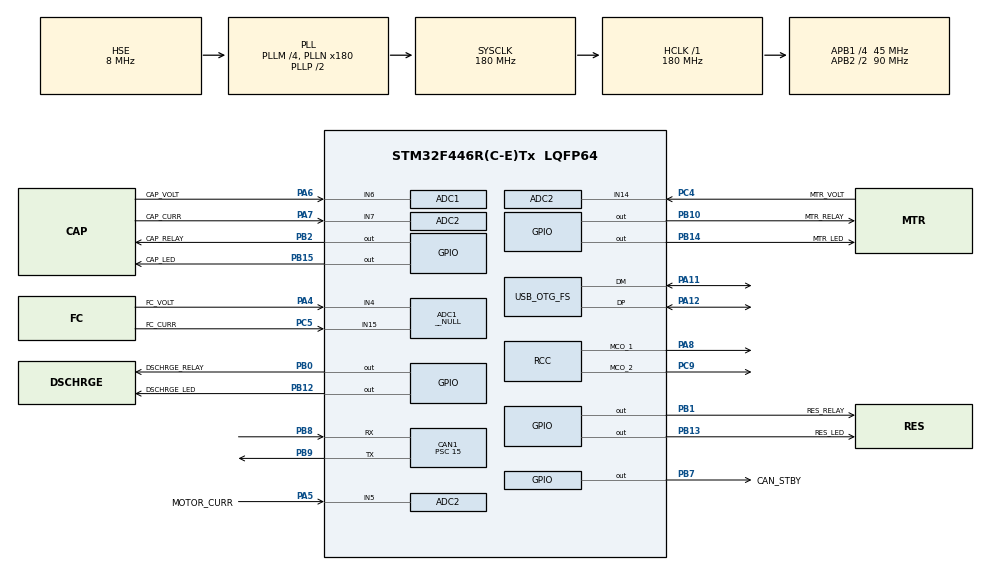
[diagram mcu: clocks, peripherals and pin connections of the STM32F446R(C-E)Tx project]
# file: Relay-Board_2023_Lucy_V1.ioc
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ADC1.Channel-0\#ChannelRegularConversion=ADC_CHANNEL_4
ADC1.Channel-1\#ChannelRegularConversion=ADC_CHANNEL_6
ADC1.Channel-2\#ChannelRegularConversion=ADC_CHANNEL_15
ADC1.ClockPrescaler=ADC_CLOCK_SYNC_PCLK_DIV4
ADC1.ContinuousConvMode=DISABLE
ADC1.DMAContinuousRequests=DISABLE
ADC1.EOCSelection=ADC_EOC_SINGLE_CONV
ADC1.Mode=__NULL
ADC1.NbrOfConversion=3
ADC1.NbrOfConversionFlag=1
ADC1.Rank-0\#ChannelRegularConversion=1
ADC1.Rank-1\#ChannelRegularConversion=2
ADC1.Rank-2\#ChannelRegularConversion=3
ADC1.SamplingTime-0\#ChannelRegularConversion=ADC_SAMPLETIME_480CYCLES
ADC1.SamplingTime-1\#ChannelRegularConversion=ADC_SAMPLETIME_480CYCLES
ADC1.SamplingTime-2\#ChannelRegularConversion=ADC_SAMPLETIME_480CYCLES
ADC1.ScanConvMode=ENABLE
ADC1.master=1
ADC2.Channel-0\#ChannelRegularConversion=ADC_CHANNEL_5
ADC2.Channel-1\#ChannelRegularConversion=ADC_CHANNEL_7
ADC2.Channel-2\#ChannelRegularConversion=ADC_CHANNEL_14
ADC2.ContinuousConvMode=DISABLE
ADC2.DMAContinuousRequests=DISABLE
ADC2.NbrOfConversion=3
ADC2.NbrOfConversionFlag=1
ADC2.Rank-0\#ChannelRegularConversion=1
ADC2.Rank-1\#ChannelRegularConversion=2
ADC2.Rank-2\#ChannelRegularConversion=3
ADC2.SamplingTime-0\#ChannelRegularConversion=ADC_SAMPLETIME_480CYCLES
ADC2.SamplingTime-1\#ChannelRegularConversion=ADC_SAMPLETIME_480CYCLES
ADC2.SamplingTime-2\#ChannelRegularConversion=ADC_SAMPLETIME_480CYCLES
ADC2.ScanConvMode=ENABLE
CAN1.BS1=CAN_BS1_1TQ
CAN1.BS2=CAN_BS2_1TQ
CAN1.CalculateBaudRate=1000000
CAN1.CalculateTimeBit=1000
CAN1.CalculateTimeQuantum=333.3333333333333
CAN1.Mode=CAN_MODE_LOOPBACK
CAN1.Prescaler=15
Dma.ADC1.1.Direction=DMA_PERIPH_TO_MEMORY
Dma.ADC1.1.FIFOMode=DMA_FIFOMODE_DISABLE
Dma.ADC1.1.Instance=DMA2_Stream0
Dma.ADC1.1.MemDataAlignment=DMA_MDATAALIGN_HALFWORD
Dma.ADC1.1.MemInc=DMA_MINC_ENABLE
Dma.ADC1.1.Mode=DMA_CIRCULAR
Dma.ADC1.1.PeriphDataAlignment=DMA_PDATAALIGN_HALFWORD
Dma.ADC1.1.PeriphInc=DMA_PINC_DISABLE
Dma.ADC1.1.Priority=DMA_PRIORITY_LOW
Dma.ADC2.0.Direction=DMA_PERIPH_TO_MEMORY
Dma.ADC2.0.FIFOMode=DMA_FIFOMODE_DISABLE
Dma.ADC2.0.Instance=DMA2_Stream2
Dma.ADC2.0.MemDataAlignment=DMA_MDATAALIGN_HALFWORD
Dma.ADC2.0.MemInc=DMA_MINC_ENABLE
Dma.ADC2.0.Mode=DMA_CIRCULAR
Dma.ADC2.0.PeriphDataAlignment=DMA_PDATAALIGN_HALFWORD
Dma.ADC2.0.PeriphInc=DMA_PINC_DISABLE
Dma.ADC2.0.Priority=DMA_PRIORITY_LOW
Dma.Request0=ADC2
Dma.Request1=ADC1
FREERTOS.BinarySemaphores01=canMsgReceivedSem,Dynamic,NULL
FREERTOS.HEAP_NUMBER=4
FREERTOS.Tasks01=RelayTask,24,128,StartRelayTask,Default,NULL,Static,RelayTaskBuffer,RelayTaskControlBlock;CanTask,24,128,StartCanTask,Default,NULL,Static,CanTaksBuffer,CanTaksControlBlock;AdcTask,24,128,StartAdcTask,Default,NULL,Static,AdcTaskBuffer,AdcTaskControlBlock
FREERTOS.configENABLE_FPU=1
FREERTOS.configUSE_NEWLIB_REENTRANT=1
Mcu.Family=STM32F4
Mcu.Name=STM32F446R(C-E)Tx
Mcu.Package=LQFP64
NVIC.ADC_IRQn=true\:5\:0\:false\:false\:true\:true\:true\:true\:true
NVIC.CAN1_RX0_IRQn=true\:5\:0\:false\:false\:true\:true\:true\:true\:true
NVIC.CAN1_RX1_IRQn=true\:5\:0\:false\:false\:true\:true\:true\:true\:true
NVIC.CAN1_TX_IRQn=true\:5\:0\:false\:false\:true\:true\:true\:true\:true
NVIC.DMA2_Stream0_IRQn=true\:5\:0\:false\:false\:true\:true\:false\:true\:true
NVIC.DMA2_Stream2_IRQn=true\:5\:0\:false\:false\:true\:true\:false\:true\:true
NVIC.OTG_FS_IRQn=true\:5\:0\:false\:false\:true\:true\:false\:true\:true
NVIC.PriorityGroup=NVIC_PRIORITYGROUP_4
NVIC.TIM1_UP_TIM10_IRQn=true\:15\:0\:false\:false\:true\:false\:false\:true\:true
NVIC.TimeBase=TIM1_UP_TIM10_IRQn
NVIC.TimeBaseIP=TIM1
PA11.Mode=Device_Only
PA11.Signal=USB_OTG_FS_DM
PA12.Mode=Device_Only
PA12.Signal=USB_OTG_FS_DP
PA13.Mode=Serial_Wire
PA13.Signal=SYS_JTMS-SWDIO
PA14.Mode=Serial_Wire
PA14.Signal=SYS_JTCK-SWCLK
PA4.GPIO_Label=FC_VOLT
PA4.Signal=ADCx_IN4
PA5.GPIO_Label=MOTOR_CURR
PA5.Signal=ADCx_IN5
PA6.GPIO_Label=CAP_VOLT
PA6.Signal=ADCx_IN6
PA7.GPIO_Label=CAP_CURR
PA7.Signal=ADCx_IN7
PA8.Mode=Clock-out-1
PA8.Signal=RCC_MCO_1
PB0.GPIO_Label=DSCHRGE_RELAY
PB0.Signal=GPIO_Output
PB1.GPIO_Label=RES_RELAY
PB1.Signal=GPIO_Output
PB10.GPIO_Label=MTR_RELAY
PB10.Signal=GPIO_Output
PB12.GPIO_Label=DSCHRGE_LED
PB12.Signal=GPIO_Output
PB13.GPIO_Label=RES_LED
PB13.Signal=GPIO_Output
PB14.GPIO_Label=MTR_LED
PB14.Signal=GPIO_Output
PB15.GPIO_Label=CAP_LED
PB15.Signal=GPIO_Output
PB2.GPIO_Label=CAP_RELAY
PB2.Signal=GPIO_Output
PB7.GPIO_Label=CAN_STBY
PB7.Signal=GPIO_Output
PB8.Mode=CAN_Activate
PB8.Signal=CAN1_RX
PB9.Mode=CAN_Activate
PB9.Signal=CAN1_TX
PC4.GPIO_Label=MTR_VOLT
PC4.Signal=ADCx_IN14
PC5.GPIO_Label=FC_CURR
PC5.Signal=ADCx_IN15
PC9.Mode=Clock-out-2
PC9.Signal=RCC_MCO_2
PH0-OSC_IN.Mode=HSE-External-Clock-Source
PH0-OSC_IN.Signal=RCC_OSC_IN
PH1-OSC_OUT.Mode=HSE-External-Clock-Source
PH1-OSC_OUT.Signal=RCC_OSC_OUT
ProjectManager.HeapSize=0x200
ProjectManager.StackSize=0x400
ProjectManager.TargetToolchain=Makefile
RCC.AHBFreq_Value=180000000
RCC.APB1CLKDivider=RCC_HCLK_DIV4
RCC.APB1Freq_Value=45000000
RCC.APB1TimFreq_Value=90000000
RCC.APB2CLKDivider=RCC_HCLK_DIV2
RCC.APB2Freq_Value=90000000
RCC.APB2TimFreq_Value=180000000
RCC.CortexFreq_Value=180000000
RCC.HCLKFreq_Value=180000000
RCC.HSE_VALUE=8000000
RCC.PLLM=4
RCC.PLLN=180
RCC.PLLQ=5
RCC.PLLSAIM=4
RCC.PLLSAIN=96
RCC.PLLSAIP=RCC_PLLSAIP_DIV4
RCC.RCC_MCO1Source=RCC_MCO1SOURCE_HSE
RCC.RCC_MCODiv2=RCC_MCODIV_5
RCC.SYSCLKFreq_VALUE=180000000
RCC.SYSCLKSource=RCC_SYSCLKSOURCE_PLLCLK
RCC.USBCLockSelection=RCC_CLK48CLKSOURCE_PLLSAIP
RCC.USBFreq_Value=48000000
RCC.VCOOutputFreq_Value=360000000
SH.ADCx_IN14.0=ADC2_IN14,IN14
SH.ADCx_IN15.0=ADC1_IN15,IN15
SH.ADCx_IN4.0=ADC1_IN4,IN4
SH.ADCx_IN5.0=ADC2_IN5,IN5
SH.ADCx_IN6.0=ADC1_IN6,IN6
SH.ADCx_IN7.0=ADC2_IN7,IN7
USB_DEVICE.CLASS_NAME_FS=CDC
USB_DEVICE.VirtualMode-CDC_FS=Cdc
USB_DEVICE.VirtualModeFS=Cdc_FS
USB_OTG_FS.VirtualMode=Device_Only
VP_FREERTOS_VS_CMSIS_V2.Mode=CMSIS_V2
VP_SYS_VS_tim1.Mode=TIM1
VP_USB_DEVICE_VS_USB_DEVICE_CDC_FS.Mode=CDC_FS
board=custom

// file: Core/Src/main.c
/* USER CODE BEGIN Header */
/**
 ******************************************************************************
 * @file           : main.c
 * @brief          : Main program body
 ******************************************************************************
 * @attention
 *
 * Copyright (c) 2024 STMicroelectronics.
 * All rights reserved.
 *
 * This software is licensed under terms that can be found in the LICENSE file
 * in the root directory of this software component.
 * If no LICENSE file comes with this software, it is provided AS-IS.
 *
 ******************************************************************************
 */
/* USER CODE END Header */
#include "main.h"
#include "cmsis_os.h"
#include "usb_device.h"

/* USER CODE BEGIN Includes */
#include "usbd_cdc_if.h"
#include <stdint.h>
/* USER CODE END Includes */

typedef StaticTask_t osStaticThreadDef_t;
/* USER CODE BEGIN PTD */
typedef enum
{
  ALL_RELAY_OFF = 0x00,
  CAP_RELAY = 0x01,
  RES_RELAY = 0x02,
  DSCHRGE_RELAY = 0x04,
  MTR_RELAY = 0x08,
} relayBit_t;

typedef enum
{
  RELAY_STBY = ALL_RELAY_OFF,
  RELAY_STRTP = RES_RELAY | DSCHRGE_RELAY,
  RELAY_CHRGE = RES_RELAY,
  RELAY_RUN = CAP_RELAY | DSCHRGE_RELAY | MTR_RELAY,
} rbState_t;

typedef struct
{
  float fc_volt;
  float fc_curr;
  float mtr_volt;
  float mtr_curr;
  float cap_volt;
  float cap_curr;
} rbData_t;

/* USER CODE END PTD */

ADC_HandleTypeDef hadc1;
ADC_HandleTypeDef hadc2;
DMA_HandleTypeDef hdma_adc1;
DMA_HandleTypeDef hdma_adc2;

CAN_HandleTypeDef hcan1;

/* Definitions for RelayTask */
osThreadId_t RelayTaskHandle;
uint32_t RelayTaskBuffer[ 128 ];
osStaticThreadDef_t RelayTaskControlBlock;
const osThreadAttr_t RelayTask_attributes = {
  .name = "RelayTask",
  .cb_mem = &RelayTaskControlBlock,
  .cb_size = sizeof(RelayTaskControlBlock),
  .stack_mem = &RelayTaskBuffer[0],
  .stack_size = sizeof(RelayTaskBuffer),
  .priority = (osPriority_t) osPriorityNormal,
};
/* Definitions for CanTask */
osThreadId_t CanTaskHandle;
uint32_t CanTaksBuffer[ 128 ];
osStaticThreadDef_t CanTaksControlBlock;
const osThreadAttr_t CanTask_attributes = {
  .name = "CanTask",
  .cb_mem = &CanTaksControlBlock,
  .cb_size = sizeof(CanTaksControlBlock),
  .stack_mem = &CanTaksBuffer[0],
  .stack_size = sizeof(CanTaksBuffer),
  .priority = (osPriority_t) osPriorityNormal,
};
/* Definitions for AdcTask */
osThreadId_t AdcTaskHandle;
uint32_t AdcTaskBuffer[ 128 ];
osStaticThreadDef_t AdcTaskControlBlock;
const osThreadAttr_t AdcTask_attributes = {
  .name = "AdcTask",
  .cb_mem = &AdcTaskControlBlock,
  .cb_size = sizeof(AdcTaskControlBlock),
  .stack_mem = &AdcTaskBuffer[0],
  .stack_size = sizeof(AdcTaskBuffer),
  .priority = (osPriority_t) osPriorityNormal,
};
/* Definitions for canMsgReceivedSem */
osSemaphoreId_t canMsgReceivedSemHandle;
const osSemaphoreAttr_t canMsgReceivedSem_attributes = {
  .name = "canMsgReceivedSem"
};
/* USER CODE BEGIN PV */
rbState_t rb_state = RELAY_STBY;
rbData_t relay_board_data;

volatile uint16_t adc1Results[3];

CAN_RxHeaderTypeDef RxHeader;
uint8_t RxData[8];
/* USER CODE END PV */

void SystemClock_Config(void);
static void MX_GPIO_Init(void);
static void MX_DMA_Init(void);
static void MX_CAN1_Init(void);
static void MX_ADC1_Init(void);
static void MX_ADC2_Init(void);
void StartRelayTask(void *argument);
void StartCanTask(void *argument);
void StartAdcTask(void *argument);

/* USER CODE BEGIN PFP */
int _write(int file, char *ptr, int len)
{
  CDC_Transmit_FS((uint8_t *)ptr, (uint16_t)len);
  return len;
}

void HAL_CAN_RxFifo0MsgPendingCallback(CAN_HandleTypeDef *hcan)
{
  HAL_CAN_GetRxMessage(hcan, CAN_RX_FIFO0, &RxHeader, RxData);
  osSemaphoreRelease(canMsgReceivedSemHandle);
}

void HAL_CAN_RxFifo1MsgPendingCallback(CAN_HandleTypeDef *hcan)
{
  HAL_CAN_GetRxMessage(hcan, CAN_RX_FIFO1, &RxHeader, RxData);
  osSemaphoreRelease(canMsgReceivedSemHandle);
}

/* Transmit Completed Callbacks for Message Sent Confirmations */
void HAL_CAN_TxMailbox0CompleteCallback(CAN_HandleTypeDef *hcan) {}

void HAL_CAN_TxMailbox1CompleteCallback(CAN_HandleTypeDef *hcan) {}

void HAL_CAN_TxMailbox2CompleteCallback(CAN_HandleTypeDef *hcan) {}

void HAL_ADC_ConvCpltCallback(ADC_HandleTypeDef *hadc)
{
  HAL_ADC_Start_DMA(&hadc1, (uint32_t*)adc1Results, 3);
}
/* USER CODE END PFP */

int main(void)
{

  /* MCU Configuration--------------------------------------------------------*/

  /* Reset of all peripherals, Initializes the Flash interface and the Systick. */
  HAL_Init();

  /* Configure the system clock */
  SystemClock_Config();

  /* Initialize all configured peripherals */
  MX_GPIO_Init();
  MX_DMA_Init();
  MX_CAN1_Init();
  MX_ADC1_Init();
  MX_ADC2_Init();

  /* Init scheduler */
  osKernelInitialize();

  /* Create the semaphores(s) */
  /* creation of canMsgReceivedSem */
  canMsgReceivedSemHandle = osSemaphoreNew(1, 0, &canMsgReceivedSem_attributes);

  /* Create the thread(s) */
  /* creation of RelayTask */
  RelayTaskHandle = osThreadNew(StartRelayTask, NULL, &RelayTask_attributes);

  /* creation of CanTask */
  CanTaskHandle = osThreadNew(StartCanTask, NULL, &CanTask_attributes);

  /* creation of AdcTask */
  AdcTaskHandle = osThreadNew(StartAdcTask, NULL, &AdcTask_attributes);

  /* Start scheduler */
  osKernelStart();

  /* We should never get here as control is now taken by the scheduler */
  /* Infinite loop */
  while (1)
  {

  }
}

void SystemClock_Config(void)
{
  RCC_OscInitTypeDef RCC_OscInitStruct = {0};
  RCC_ClkInitTypeDef RCC_ClkInitStruct = {0};

  /** Configure the main internal regulator output voltage
  */
  __HAL_RCC_PWR_CLK_ENABLE();
  __HAL_PWR_VOLTAGESCALING_CONFIG(PWR_REGULATOR_VOLTAGE_SCALE1);

  /** Initializes the RCC Oscillators according to the specified parameters
  * in the RCC_OscInitTypeDef structure.
  */
  RCC_OscInitStruct.OscillatorType = RCC_OSCILLATORTYPE_HSE;
  RCC_OscInitStruct.HSEState = RCC_HSE_BYPASS;
  RCC_OscInitStruct.PLL.PLLState = RCC_PLL_ON;
  RCC_OscInitStruct.PLL.PLLSource = RCC_PLLSOURCE_HSE;
  RCC_OscInitStruct.PLL.PLLM = 4;
  RCC_OscInitStruct.PLL.PLLN = 180;
  RCC_OscInitStruct.PLL.PLLP = RCC_PLLP_DIV2;
  RCC_OscInitStruct.PLL.PLLQ = 5;
  RCC_OscInitStruct.PLL.PLLR = 2;
  if (HAL_RCC_OscConfig(&RCC_OscInitStruct) != HAL_OK)
  {
    Error_Handler();
  }

  /** Activate the Over-Drive mode
  */
  if (HAL_PWREx_EnableOverDrive() != HAL_OK)
  {
    Error_Handler();
  }

  /** Initializes the CPU, AHB and APB buses clocks
  */
  RCC_ClkInitStruct.ClockType = RCC_CLOCKTYPE_HCLK|RCC_CLOCKTYPE_SYSCLK
                              |RCC_CLOCKTYPE_PCLK1|RCC_CLOCKTYPE_PCLK2;
  RCC_ClkInitStruct.SYSCLKSource = RCC_SYSCLKSOURCE_PLLCLK;
  RCC_ClkInitStruct.AHBCLKDivider = RCC_SYSCLK_DIV1;
  RCC_ClkInitStruct.APB1CLKDivider = RCC_HCLK_DIV4;
  RCC_ClkInitStruct.APB2CLKDivider = RCC_HCLK_DIV2;

  if (HAL_RCC_ClockConfig(&RCC_ClkInitStruct, FLASH_LATENCY_5) != HAL_OK)
  {
    Error_Handler();
  }
  HAL_RCC_MCOConfig(RCC_MCO1, RCC_MCO1SOURCE_HSE, RCC_MCODIV_1);
  HAL_RCC_MCOConfig(RCC_MCO2, RCC_MCO2SOURCE_SYSCLK, RCC_MCODIV_5);
}

static void MX_ADC1_Init(void)
{

  ADC_ChannelConfTypeDef sConfig = {0};

  /** Configure the global features of the ADC (Clock, Resolution, Data Alignment and number of conversion)
  */
  hadc1.Instance = ADC1;
  hadc1.Init.ClockPrescaler = ADC_CLOCK_SYNC_PCLK_DIV4;
  hadc1.Init.Resolution = ADC_RESOLUTION_12B;
  hadc1.Init.ScanConvMode = ENABLE;
  hadc1.Init.ContinuousConvMode = DISABLE;
  hadc1.Init.DiscontinuousConvMode = DISABLE;
  hadc1.Init.ExternalTrigConvEdge = ADC_EXTERNALTRIGCONVEDGE_NONE;
  hadc1.Init.ExternalTrigConv = ADC_SOFTWARE_START;
  hadc1.Init.DataAlign = ADC_DATAALIGN_RIGHT;
  hadc1.Init.NbrOfConversion = 3;
  hadc1.Init.DMAContinuousRequests = DISABLE;
  hadc1.Init.EOCSelection = ADC_EOC_SINGLE_CONV;
  if (HAL_ADC_Init(&hadc1) != HAL_OK)
  {
    Error_Handler();
  }

  /** Configure for the selected ADC regular channel its corresponding rank in the sequencer and its sample time.
  */
  sConfig.Channel = ADC_CHANNEL_4;
  sConfig.Rank = 1;
  sConfig.SamplingTime = ADC_SAMPLETIME_480CYCLES;
  if (HAL_ADC_ConfigChannel(&hadc1, &sConfig) != HAL_OK)
  {
    Error_Handler();
  }

  /** Configure for the selected ADC regular channel its corresponding rank in the sequencer and its sample time.
  */
  sConfig.Channel = ADC_CHANNEL_6;
  sConfig.Rank = 2;
  if (HAL_ADC_ConfigChannel(&hadc1, &sConfig) != HAL_OK)
  {
    Error_Handler();
  }

  /** Configure for the selected ADC regular channel its corresponding rank in the sequencer and its sample time.
  */
  sConfig.Channel = ADC_CHANNEL_15;
  sConfig.Rank = 3;
  if (HAL_ADC_ConfigChannel(&hadc1, &sConfig) != HAL_OK)
  {
    Error_Handler();
  }

}

static void MX_ADC2_Init(void)
{

  ADC_ChannelConfTypeDef sConfig = {0};

  /** Configure the global features of the ADC (Clock, Resolution, Data Alignment and number of conversion)
  */
  hadc2.Instance = ADC2;
  hadc2.Init.ClockPrescaler = ADC_CLOCK_SYNC_PCLK_DIV4;
  hadc2.Init.Resolution = ADC_RESOLUTION_12B;
  hadc2.Init.ScanConvMode = ENABLE;
  hadc2.Init.ContinuousConvMode = ENABLE;
  hadc2.Init.DiscontinuousConvMode = DISABLE;
  hadc2.Init.ExternalTrigConvEdge = ADC_EXTERNALTRIGCONVEDGE_NONE;
  hadc2.Init.ExternalTrigConv = ADC_SOFTWARE_START;
  hadc2.Init.DataAlign = ADC_DATAALIGN_RIGHT;
  hadc2.Init.NbrOfConversion = 3;
  hadc2.Init.DMAContinuousRequests = ENABLE;
  hadc2.Init.EOCSelection = ADC_EOC_SINGLE_CONV;
  if (HAL_ADC_Init(&hadc2) != HAL_OK)
  {
    Error_Handler();
  }

  /** Configure for the selected ADC regular channel its corresponding rank in the sequencer and its sample time.
  */
  sConfig.Channel = ADC_CHANNEL_5;
  sConfig.Rank = 1;
  sConfig.SamplingTime = ADC_SAMPLETIME_480CYCLES;
  if (HAL_ADC_ConfigChannel(&hadc2, &sConfig) != HAL_OK)
  {
    Error_Handler();
  }

  /** Configure for the selected ADC regular channel its corresponding rank in the sequencer and its sample time.
  */
  sConfig.Channel = ADC_CHANNEL_7;
  sConfig.Rank = 2;
  if (HAL_ADC_ConfigChannel(&hadc2, &sConfig) != HAL_OK)
  {
    Error_Handler();
  }

  /** Configure for the selected ADC regular channel its corresponding rank in the sequencer and its sample time.
  */
  sConfig.Channel = ADC_CHANNEL_14;
  sConfig.Rank = 3;
  if (HAL_ADC_ConfigChannel(&hadc2, &sConfig) != HAL_OK)
  {
    Error_Handler();
  }

}

static void MX_CAN1_Init(void)
{

  hcan1.Instance = CAN1;
  hcan1.Init.Prescaler = 15;
  hcan1.Init.Mode = CAN_MODE_LOOPBACK;
  hcan1.Init.SyncJumpWidth = CAN_SJW_1TQ;
  hcan1.Init.TimeSeg1 = CAN_BS1_1TQ;
  hcan1.Init.TimeSeg2 = CAN_BS2_1TQ;
  hcan1.Init.TimeTriggeredMode = DISABLE;
  hcan1.Init.AutoBusOff = DISABLE;
  hcan1.Init.AutoWakeUp = DISABLE;
  hcan1.Init.AutoRetransmission = DISABLE;
  hcan1.Init.ReceiveFifoLocked = DISABLE;
  hcan1.Init.TransmitFifoPriority = DISABLE;
  if (HAL_CAN_Init(&hcan1) != HAL_OK)
  {
    Error_Handler();
  }
  /* USER CODE BEGIN CAN1_Init 2 */
  HAL_CAN_ActivateNotification(&hcan1, CAN_IT_TX_MAILBOX_EMPTY);
  HAL_CAN_ActivateNotification(&hcan1, CAN_IT_RX_FIFO0_MSG_PENDING);
  HAL_CAN_ActivateNotification(&hcan1, CAN_IT_RX_FIFO1_MSG_PENDING);

  CAN_FilterTypeDef sf;
  // Accept StdID's 0x100 through 0x1FF
  sf.FilterIdHigh = 0x100 << 5;
  sf.FilterMaskIdHigh = 0x700 << 5;
  sf.FilterIdLow = 0x0000;
  sf.FilterMaskIdLow = 0x0000;
  sf.FilterFIFOAssignment = CAN_FILTER_FIFO0;
  sf.FilterBank = 0;
  sf.FilterMode = CAN_FILTERMODE_IDMASK;
  sf.FilterScale = CAN_FILTERSCALE_32BIT;
  sf.FilterActivation = CAN_FILTER_ENABLE;
  if (HAL_CAN_ConfigFilter(&hcan1, &sf) != HAL_OK)
  {
    Error_Handler();
  }
  /* USER CODE END CAN1_Init 2 */

}

static void MX_DMA_Init(void)
{

  /* DMA controller clock enable */
  __HAL_RCC_DMA2_CLK_ENABLE();

  /* DMA interrupt init */
  /* DMA2_Stream0_IRQn interrupt configuration */
  HAL_NVIC_SetPriority(DMA2_Stream0_IRQn, 5, 0);
  HAL_NVIC_EnableIRQ(DMA2_Stream0_IRQn);
  /* DMA2_Stream2_IRQn interrupt configuration */
  HAL_NVIC_SetPriority(DMA2_Stream2_IRQn, 5, 0);
  HAL_NVIC_EnableIRQ(DMA2_Stream2_IRQn);

}

static void MX_GPIO_Init(void)
{
  GPIO_InitTypeDef GPIO_InitStruct = {0};

  /* GPIO Ports Clock Enable */
  __HAL_RCC_GPIOC_CLK_ENABLE();
  __HAL_RCC_GPIOH_CLK_ENABLE();
  __HAL_RCC_GPIOA_CLK_ENABLE();
  __HAL_RCC_GPIOB_CLK_ENABLE();
  __HAL_RCC_GPIOD_CLK_ENABLE();

  /*Configure GPIO pin Output Level */
  HAL_GPIO_WritePin(GPIOB, DSCHRGE_RELAY_Pin|RES_RELAY_Pin|CAP_RELAY_Pin|MTR_RELAY_Pin
                          |DSCHRGE_LED_Pin|RES_LED_Pin|MTR_LED_Pin|CAP_LED_Pin
                          |CAN_STBY_Pin, GPIO_PIN_RESET);

  /*Configure GPIO pins : PC13 PC14 PC15 PC0
                           PC1 PC2 PC3 PC6
                           PC7 PC8 PC10 PC11
                           PC12 */
  GPIO_InitStruct.Pin = GPIO_PIN_13|GPIO_PIN_14|GPIO_PIN_15|GPIO_PIN_0
                          |GPIO_PIN_1|GPIO_PIN_2|GPIO_PIN_3|GPIO_PIN_6
                          |GPIO_PIN_7|GPIO_PIN_8|GPIO_PIN_10|GPIO_PIN_11
                          |GPIO_PIN_12;
  GPIO_InitStruct.Mode = GPIO_MODE_ANALOG;
  GPIO_InitStruct.Pull = GPIO_NOPULL;
  HAL_GPIO_Init(GPIOC, &GPIO_InitStruct);

  /*Configure GPIO pins : PA0 PA1 PA2 PA3
                           PA9 PA10 PA15 */
  GPIO_InitStruct.Pin = GPIO_PIN_0|GPIO_PIN_1|GPIO_PIN_2|GPIO_PIN_3
                          |GPIO_PIN_9|GPIO_PIN_10|GPIO_PIN_15;
  GPIO_InitStruct.Mode = GPIO_MODE_ANALOG;
  GPIO_InitStruct.Pull = GPIO_NOPULL;
  HAL_GPIO_Init(GPIOA, &GPIO_InitStruct);

  /*Configure GPIO pins : DSCHRGE_RELAY_Pin RES_RELAY_Pin CAP_RELAY_Pin MTR_RELAY_Pin
                           DSCHRGE_LED_Pin RES_LED_Pin MTR_LED_Pin CAP_LED_Pin
                           CAN_STBY_Pin */
  GPIO_InitStruct.Pin = DSCHRGE_RELAY_Pin|RES_RELAY_Pin|CAP_RELAY_Pin|MTR_RELAY_Pin
                          |DSCHRGE_LED_Pin|RES_LED_Pin|MTR_LED_Pin|CAP_LED_Pin
                          |CAN_STBY_Pin;
  GPIO_InitStruct.Mode = GPIO_MODE_OUTPUT_PP;
  GPIO_InitStruct.Pull = GPIO_NOPULL;
  GPIO_InitStruct.Speed = GPIO_SPEED_FREQ_LOW;
  HAL_GPIO_Init(GPIOB, &GPIO_InitStruct);

  /*Configure GPIO pin : PC9 */
  GPIO_InitStruct.Pin = GPIO_PIN_9;
  GPIO_InitStruct.Mode = GPIO_MODE_AF_PP;
  GPIO_InitStruct.Pull = GPIO_NOPULL;
  GPIO_InitStruct.Speed = GPIO_SPEED_FREQ_LOW;
  GPIO_InitStruct.Alternate = GPIO_AF0_MCO;
  HAL_GPIO_Init(GPIOC, &GPIO_InitStruct);

  /*Configure GPIO pin : PA8 */
  GPIO_InitStruct.Pin = GPIO_PIN_8;
  GPIO_InitStruct.Mode = GPIO_MODE_AF_PP;
  GPIO_InitStruct.Pull = GPIO_NOPULL;
  GPIO_InitStruct.Speed = GPIO_SPEED_FREQ_LOW;
  GPIO_InitStruct.Alternate = GPIO_AF0_MCO;
  HAL_GPIO_Init(GPIOA, &GPIO_InitStruct);

  /*Configure GPIO pin : PD2 */
  GPIO_InitStruct.Pin = GPIO_PIN_2;
  GPIO_InitStruct.Mode = GPIO_MODE_ANALOG;
  GPIO_InitStruct.Pull = GPIO_NOPULL;
  HAL_GPIO_Init(GPIOD, &GPIO_InitStruct);

  /*Configure GPIO pins : PB3 PB4 PB5 PB6 */
  GPIO_InitStruct.Pin = GPIO_PIN_3|GPIO_PIN_4|GPIO_PIN_5|GPIO_PIN_6;
  GPIO_InitStruct.Mode = GPIO_MODE_ANALOG;
  GPIO_InitStruct.Pull = GPIO_NOPULL;
  HAL_GPIO_Init(GPIOB, &GPIO_InitStruct);

}

void StartRelayTask(void *argument)
{
  /* init code for USB_DEVICE */
  MX_USB_DEVICE_Init();
  /* USER CODE BEGIN 5 */
  /* Infinite loop */
  rb_state = RELAY_STBY;
  for (;;)
  {
    switch (rb_state)
    {
    case RELAY_STBY:
      HAL_GPIO_WritePin(GPIOB,
                        DSCHRGE_RELAY_Pin | RES_RELAY_Pin | CAP_RELAY_Pin |
                            MTR_RELAY_Pin | DSCHRGE_LED_Pin | RES_LED_Pin |
                            MTR_LED_Pin | CAP_LED_Pin,
                        GPIO_PIN_RESET);
      printf("In relay standby state\r\n");
      break;
    case RELAY_STRTP:
      HAL_GPIO_WritePin(
          GPIOB, CAP_RELAY_Pin | MTR_RELAY_Pin | MTR_LED_Pin | CAP_LED_Pin,
          GPIO_PIN_RESET);
      HAL_GPIO_WritePin(GPIOB,
                        DSCHRGE_RELAY_Pin | RES_RELAY_Pin | DSCHRGE_LED_Pin |
                            RES_LED_Pin,
                        GPIO_PIN_SET);
      printf("In relay startup state\r\n");
      break;
    case RELAY_CHRGE:
      HAL_GPIO_WritePin(GPIOB,
                        DSCHRGE_RELAY_Pin | CAP_RELAY_Pin |
                            MTR_RELAY_Pin | DSCHRGE_LED_Pin |
                            MTR_LED_Pin | CAP_LED_Pin,
                        GPIO_PIN_RESET);
      HAL_GPIO_WritePin(GPIOB,
                        RES_RELAY_Pin | RES_LED_Pin,
                        GPIO_PIN_SET);
      printf("In relay charge state\r\n");
      break;
    case RELAY_RUN:
      HAL_GPIO_WritePin(GPIOB,
                        RES_RELAY_Pin | RES_LED_Pin,
                        GPIO_PIN_RESET);
      HAL_GPIO_WritePin(GPIOB,
                        DSCHRGE_RELAY_Pin | CAP_RELAY_Pin |
                            MTR_RELAY_Pin | DSCHRGE_LED_Pin |
                            MTR_LED_Pin | CAP_LED_Pin,
                        GPIO_PIN_SET);
      printf("In relay run state\r\n");
      break;
    }
    osDelay(10000);
  }
  /* USER CODE END 5 */
}

void StartCanTask(void *argument)
{
  for (;;)
  {
    osDelay(1);
  }
}

void StartAdcTask(void *argument)
{
  /* USER CODE BEGIN StartAdcTask */
  /* Infinite loop */
  adc1Results[0] = adc1Results[1] = adc1Results[2] = 0;
  HAL_ADC_Start_DMA(&hadc1, (uint32_t*)adc1Results, 3);
  for (;;)
  {
    relay_board_data.fc_volt = adc1Results[0]*FC_VOLT_CONV;
    printf("FC Voltage %d\r\n", 10U);
    osDelay(10);
  }
  /* USER CODE END StartAdcTask */
}

void HAL_TIM_PeriodElapsedCallback(TIM_HandleTypeDef *htim)
{
  if (htim->Instance == TIM1) {
    HAL_IncTick();
  }
}

void Error_Handler(void)
{
  __disable_irq();
  while (1)
  {
  }
}

#ifdef  USE_FULL_ASSERT
/**
  * @brief  Reports the name of the source file and the source line number
  *         where the assert_param error has occurred.
  * @param  file: pointer to the source file name
  * @param  line: assert_param error line source number
  * @retval None
  */
void assert_failed(uint8_t *file, uint32_t line)
{
  /* USER CODE BEGIN 6 */
  /* User can add his own implementation to report the file name and line
     number, ex: printf("Wrong parameters value: file %s on line %d\r\n", file,
     line) */
  /* USER CODE END 6 */
}
#endif /* USE_FULL_ASSERT */
